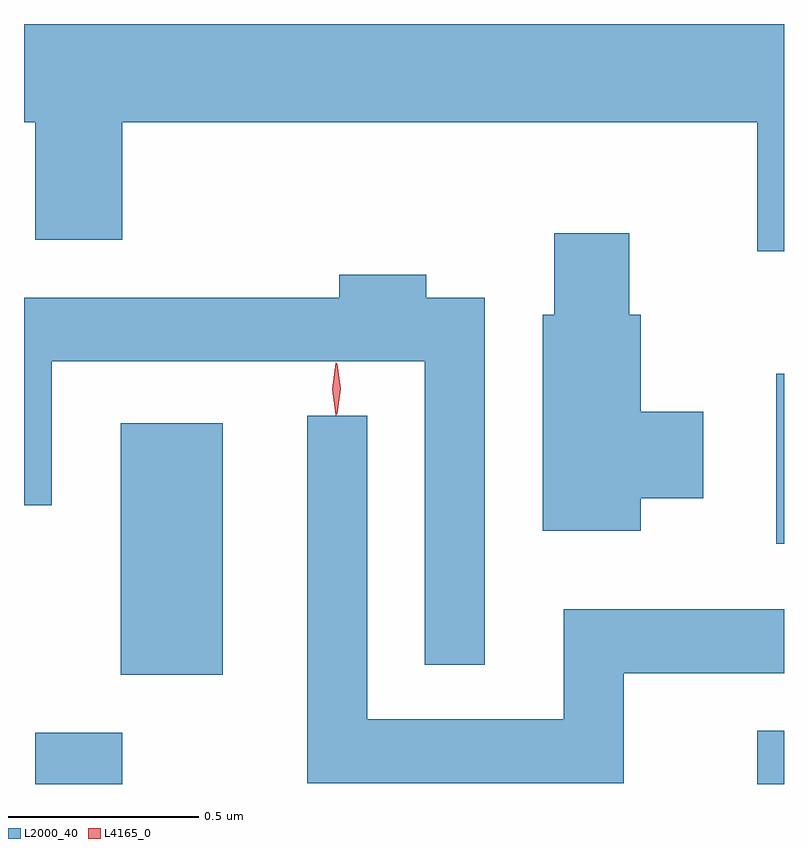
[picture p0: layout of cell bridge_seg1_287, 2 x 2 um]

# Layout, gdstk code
import gdstk
lib = gdstk.Library(unit=1e-6, precision=1e-09)
def R(c, l, rs):  # rectangles x0, y0, x1, y1
    for r in rs: c.add(gdstk.rectangle(r[:2], r[2:], *l))
def P(c, l, *ps):  # polygons
    for p in ps: c.add(gdstk.Polygon(p, *l))
L2000_40 = (2000, 40)
L4165_0 = (4165, 0)

bridge_seg1_287 = lib.new_cell('bridge_seg1_287')
R(bridge_seg1_287, L2000_40, [(838.121,902.274,838.349,902.409), (840.021,902.274,840.091,902.414), (838.346,902.561,838.614,903.224), (840.071,902.906,840.091,903.354)])
P(bridge_seg1_287, L2000_40, [(840.091,904.274),(838.091,904.274),(838.091,904.016),(838.121,904.016),(838.121,903.706),(838.349,903.706),(838.349,904.016),(840.021,904.016),(840.021,903.676),(840.091,903.676)],
  [(839.714,903.026),(839.879,903.026),(839.879,903.254),(839.714,903.254),(839.714,903.509),(839.684,903.509),(839.684,903.724),(839.486,903.724),(839.486,903.509),(839.456,903.509),(839.456,902.941),(839.714,902.941)],
  [(839.304,903.554),(839.149,903.554),(839.149,903.614),(838.921,903.614),(838.921,903.554),(838.091,903.554),(838.091,903.008),(838.164,903.008),(838.164,903.386),(839.146,903.386),(839.146,902.588),(839.304,902.588)],
  [(839.669,902.566),(840.091,902.566),(840.091,902.734),(839.511,902.734),(839.511,902.444),(838.994,902.444),(838.994,903.243),(838.836,903.243),(838.836,902.276),(839.669,902.276)])
P(bridge_seg1_287, L4165_0, [(838.912,903.243),(838.912,903.244),(838.902,903.313),(838.912,903.382),(838.912,903.383),(838.913,903.382),(838.922,903.313),(838.913,903.244)],
  [(838.915,903.247),(838.914,903.248),(838.905,903.314),(838.914,903.38),(838.914,903.38),(838.915,903.38),(838.924,903.314),(838.915,903.248)])

lib.write_gds('bridge_seg1_287.gds')
